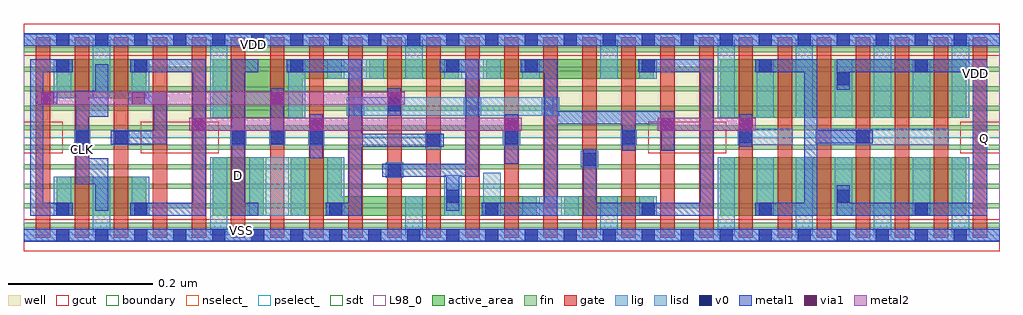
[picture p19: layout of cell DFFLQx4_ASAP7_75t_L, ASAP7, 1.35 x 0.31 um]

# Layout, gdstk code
import gdstk
lib = gdstk.Library(unit=1e-6, precision=2.5e-10)
def R(c, l, rs):  # rectangles x0, y0, x1, y1
    for r in rs: c.add(gdstk.rectangle(r[:2], r[2:], *l))
def A(c, l, x, y, w, h, nx, ny, dx, dy):  # array of equal rectangles
    R(c, l, [(x+i*dx, y+j*dy, x+i*dx+w, y+j*dy+h) for i in range(nx) for j in range(ny)])
def P(c, l, *ps):  # polygons
    for p in ps: c.add(gdstk.Polygon(p, *l))
well = (1, 0)
fin = (2, 0)
gate = (7, 0)
gcut = (10, 0)
active_area = (11, 0)
nselect_ = (12, 0)
pselect_ = (13, 0)
lig = (16, 0)
lisd = (17, 0)
v0 = (18, 0)
metal1 = (19, 0)
metal2 = (20, 0)
via1 = (21, 0)
sdt = (88, 0)
L98_0 = (98, 0)
boundary = (100, 0)

dfflqx4_asap7_75t_l = lib.new_cell('DFFLQx4_ASAP7_75t_L')
R(dfflqx4_asap7_75t_l, well, [(0,0.135,1.35,0.27)])
A(dfflqx4_asap7_75t_l, fin, 0, 0.01, 1.35, 0.007, 1, 10, 0, 0.027)
A(dfflqx4_asap7_75t_l, gate, 0.017, -0.0035, 0.02, 0.277, 25, 1, 0.054, 0)
R(dfflqx4_asap7_75t_l, gcut, [(0,-0.022,1.35,0.022), (0,0.113,0.054,0.157), (0.162,0.113,0.27,0.157), (0.864,0.113,0.972,0.157), (1.296,0.113,1.35,0.157), (0,0.248,1.35,0.292)])
R(dfflqx4_asap7_75t_l, active_area, [(0.046,0.027,0.17,0.081), (0.262,0.027,0.332,0.108), (0.748,0.027,0.872,0.054), (0.964,0.027,1.304,0.108), (0.964,0.162,1.304,0.243), (0.046,0.189,0.17,0.243), (0.478,0.216,0.602,0.243), (0.64,0.216,0.872,0.243)])
P(dfflqx4_asap7_75t_l, active_area, [(0.44,0.243),(0.262,0.243),(0.262,0.162),(0.386,0.162),(0.386,0.216),(0.44,0.216)],
  [(0.71,0.054),(0.44,0.054),(0.44,0.108),(0.37,0.108),(0.37,0.027),(0.71,0.027)])
R(dfflqx4_asap7_75t_l, nselect_, [(0,0,1.35,0.135)])
R(dfflqx4_asap7_75t_l, pselect_, [(0,0.135,1.35,0.27)])
A(dfflqx4_asap7_75t_l, lig, 0.286, 0.124, 0.022, 0.022, 3, 1, 0.054, 0)
R(dfflqx4_asap7_75t_l, lig, [(0,-0.008,1.35,0.008), (0.501,0.079,0.525,0.101), (0.771,0.094,0.795,0.117), (0.556,0.119,0.578,0.142), (0.07,0.124,0.092,0.146), (0.124,0.124,0.146,0.146), (0.663,0.124,0.687,0.146), (0.826,0.124,0.848,0.146), (0.988,0.125,1.064,0.147), (1.096,0.125,1.28,0.147), (0.447,0.165,0.471,0.191), (0.609,0.165,0.633,0.191), (0.717,0.165,0.741,0.191), (0,0.262,1.35,0.278)])
A(dfflqx4_asap7_75t_l, lisd, 0.96, 0, 0.024, 0.108, 4, 2, 0.108, 0.162)
A(dfflqx4_asap7_75t_l, lisd, 1.014, 0.027, 0.024, 0.081, 3, 2, 0.108, 0.135)
R(dfflqx4_asap7_75t_l, lisd, [(0.096,0,0.12,0.081), (0.258,0,0.282,0.108), (0.528,0,0.552,0.054), (0.798,0,0.822,0.054), (0.042,0.027,0.066,0.081), (0.15,0.027,0.174,0.081), (0.312,0.027,0.39,0.108), (0.42,0.027,0.444,0.108), (0.582,0.027,0.606,0.083), (0.636,0.027,0.66,0.086), (0.69,0.027,0.768,0.054), (0.852,0.027,0.876,0.054), (0.258,0.162,0.282,0.27), (0.366,0.162,0.39,0.243), (0.457,0.165,0.733,0.191), (0.042,0.189,0.066,0.243), (0.096,0.189,0.12,0.27), (0.15,0.189,0.174,0.243), (0.42,0.216,0.498,0.243), (0.528,0.216,0.552,0.27), (0.582,0.216,0.66,0.243), (0.69,0.216,0.714,0.243), (0.798,0.216,0.822,0.27), (0.852,0.216,0.876,0.243)])
A(dfflqx4_asap7_75t_l, v0, 0.045, -0.009, 0.018, 0.018, 24, 2, 0.054, 0.27)
A(dfflqx4_asap7_75t_l, v0, 0.423, 0.027, 0.018, 0.018, 3, 1, 0.216, 0)
A(dfflqx4_asap7_75t_l, v0, 0.288, 0.126, 0.018, 0.018, 3, 1, 0.054, 0)
A(dfflqx4_asap7_75t_l, v0, 0.153, 0.225, 0.018, 0.018, 3, 1, 0.216, 0)
A(dfflqx4_asap7_75t_l, v0, 0.693, 0.225, 0.018, 0.018, 3, 1, 0.162, 0)
R(dfflqx4_asap7_75t_l, v0, [(0.045,0.027,0.063,0.045), (0.153,0.027,0.171,0.045), (1.017,0.027,1.035,0.045), (1.233,0.027,1.251,0.045), (0.585,0.045,0.603,0.063), (1.125,0.045,1.143,0.063), (0.504,0.081,0.522,0.099), (0.774,0.096,0.792,0.114), (0.558,0.122,0.576,0.14), (0.072,0.126,0.09,0.144), (0.126,0.126,0.144,0.144), (0.666,0.126,0.684,0.144), (0.828,0.126,0.846,0.144), (0.99,0.127,1.008,0.145), (1.152,0.127,1.17,0.145), (0.504,0.171,0.522,0.189), (1.125,0.207,1.143,0.225), (0.045,0.225,0.063,0.243), (1.233,0.225,1.251,0.243)])
R(dfflqx4_asap7_75t_l, metal1, [(0,-0.009,1.35,0.009), (0.666,0.099,0.684,0.167), (0.396,0.106,0.414,0.167), (0.99,0.122,1.008,0.167), (0.342,0.126,0.36,0.203), (0.504,0.165,0.522,0.203), (0,0.261,1.35,0.279)])
P(dfflqx4_asap7_75t_l, metal1, [(0.198,0.198),(0.145,0.198),(0.145,0.18),(0.18,0.18),(0.18,0.144),(0.121,0.144),(0.121,0.126),(0.198,0.126)],
  [(0.117,0.106),(0.09,0.106),(0.09,0.164),(0.117,0.164),(0.117,0.236),(0.099,0.236),(0.099,0.2),(0.072,0.2),(0.072,0.07),(0.099,0.07),(0.099,0.034),(0.117,0.034)],
  [(0.068,0.045),(0.027,0.045),(0.027,0.18),(0.047,0.18),(0.047,0.198),(0.027,0.198),(0.027,0.225),(0.068,0.225),(0.068,0.243),(0.009,0.243),(0.009,0.027),(0.068,0.027)],
  [(0.252,0.243),(0.148,0.243),(0.148,0.225),(0.234,0.225),(0.234,0.045),(0.148,0.045),(0.148,0.027),(0.252,0.027)],
  [(0.325,0.045),(0.306,0.045),(0.306,0.225),(0.325,0.225),(0.325,0.243),(0.288,0.243),(0.288,0.027),(0.325,0.027)],
  [(0.581,0.14),(0.468,0.14),(0.468,0.243),(0.364,0.243),(0.364,0.225),(0.45,0.225),(0.45,0.045),(0.418,0.045),(0.418,0.027),(0.468,0.027),(0.468,0.122),(0.581,0.122)],
  [(0.63,0.243),(0.576,0.243),(0.576,0.225),(0.612,0.225),(0.612,0.099),(0.496,0.099),(0.496,0.081),(0.585,0.081),(0.585,0.034),(0.603,0.034),(0.603,0.081),(0.63,0.081)],
  [(0.9,0.171),(0.738,0.171),(0.738,0.243),(0.688,0.243),(0.688,0.225),(0.72,0.225),(0.72,0.045),(0.634,0.045),(0.634,0.027),(0.738,0.027),(0.738,0.153),(0.828,0.153),(0.828,0.117),(0.846,0.117),(0.846,0.153),(0.882,0.153),(0.882,0.117),(0.9,0.117)],
  [(0.954,0.243),(0.85,0.243),(0.85,0.225),(0.936,0.225),(0.936,0.045),(0.792,0.045),(0.792,0.119),(0.774,0.119),(0.774,0.027),(0.954,0.027)],
  [(1.175,0.145),(1.098,0.145),(1.098,0.243),(1.012,0.243),(1.012,0.225),(1.08,0.225),(1.08,0.045),(1.012,0.045),(1.012,0.027),(1.098,0.027),(1.098,0.127),(1.175,0.127)],
  [(1.333,0.243),(1.125,0.243),(1.125,0.201),(1.143,0.201),(1.143,0.225),(1.313,0.225),(1.313,0.045),(1.143,0.045),(1.143,0.069),(1.125,0.069),(1.125,0.027),(1.333,0.027)])
R(dfflqx4_asap7_75t_l, metal2, [(0.229,0.144,0.689,0.162), (0.877,0.144,1.013,0.162), (0.019,0.18,0.527,0.198)])
R(dfflqx4_asap7_75t_l, via1, [(0.234,0.144,0.252,0.162), (0.396,0.144,0.414,0.162), (0.666,0.144,0.684,0.162), (0.882,0.144,0.9,0.162), (0.99,0.144,1.008,0.162), (0.024,0.18,0.042,0.198), (0.15,0.18,0.168,0.198), (0.342,0.18,0.36,0.198), (0.504,0.18,0.522,0.198)])
A(dfflqx4_asap7_75t_l, sdt, 0.042, 0.027, 0.024, 0.054, 3, 2, 0.054, 0.162)
A(dfflqx4_asap7_75t_l, sdt, 0.258, 0.027, 0.024, 0.081, 4, 1, 0.054, 0)
A(dfflqx4_asap7_75t_l, sdt, 0.528, 0.027, 0.024, 0.027, 7, 1, 0.054, 0)
A(dfflqx4_asap7_75t_l, sdt, 0.96, 0.027, 0.024, 0.081, 7, 2, 0.054, 0.135)
A(dfflqx4_asap7_75t_l, sdt, 0.42, 0.216, 0.024, 0.027, 6, 1, 0.054, 0)
R(dfflqx4_asap7_75t_l, sdt, [(0.258,0.162,0.282,0.243), (0.366,0.162,0.39,0.243), (0.798,0.216,0.822,0.243), (0.852,0.216,0.876,0.243)])
R(dfflqx4_asap7_75t_l, L98_0, [(0,0,1.35,0.27)])
R(dfflqx4_asap7_75t_l, boundary, [(0,0,1.35,0.27)])
dfflqx4_asap7_75t_l.add(gdstk.Label('VDD', (1.317,0.223), layer=1, texttype=251))
dfflqx4_asap7_75t_l.add(gdstk.Label('Q', (1.329,0.134), layer=19, texttype=251))
dfflqx4_asap7_75t_l.add(gdstk.Label('VSS', (0.302,0.007), layer=19, texttype=251))
dfflqx4_asap7_75t_l.add(gdstk.Label('D', (0.298,0.082), layer=19, texttype=251))
dfflqx4_asap7_75t_l.add(gdstk.Label('CLK', (0.082,0.119), layer=19, texttype=251))
dfflqx4_asap7_75t_l.add(gdstk.Label('VDD', (0.318,0.264), layer=19, texttype=251))
dfflqx4_asap7_75t_l.add(gdstk.Label('VSS', (1.386,0.222), layer=3, texttype=251))

lib.write_gds('DFFLQx4_ASAP7_75t_L.gds')
